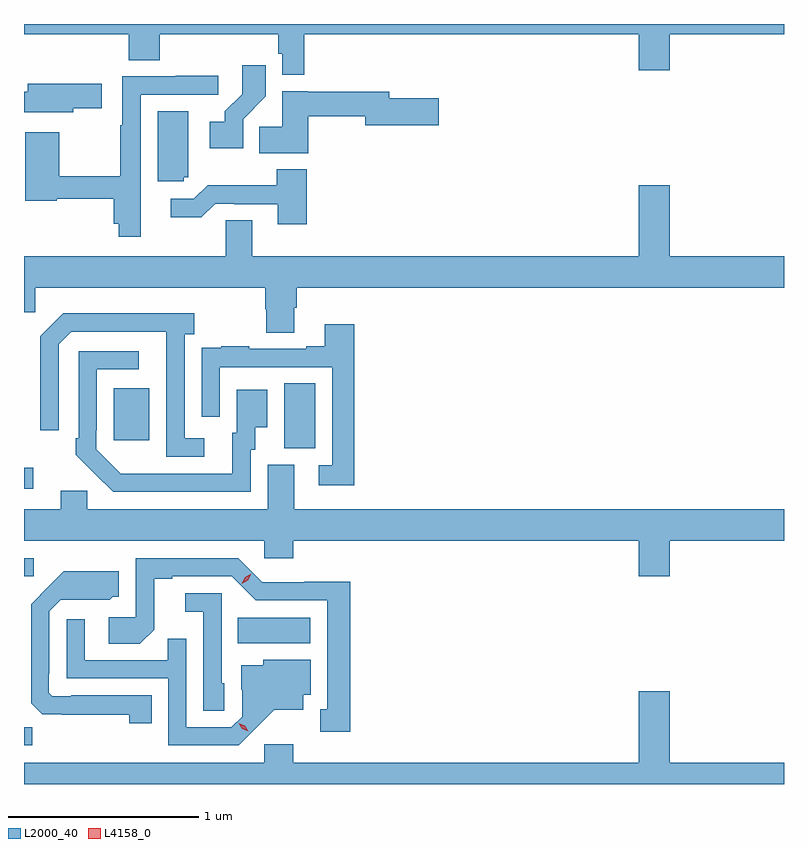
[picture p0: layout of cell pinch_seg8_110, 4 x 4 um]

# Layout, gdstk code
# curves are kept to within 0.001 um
import gdstk
lib = gdstk.Library(unit=1e-6, precision=1e-09)
def R(c, l, rs):  # rectangles x0, y0, x1, y1
    for r in rs: c.add(gdstk.rectangle(r[:2], r[2:], *l))
def P(c, l, *ps):  # polygons
    for p in ps: c.add(gdstk.Polygon(p, *l))
L2000_40 = (2000, 40)
L4158_0 = (4158, 0)

pinch_seg8_110 = lib.new_cell('pinch_seg8_110')
R(pinch_seg8_110, L2000_40, [(1024.909,1087.452,1024.953,1087.547), (1026.034,1087.988,1026.415,1088.122), (1024.909,1088.34,1024.96,1088.436), (1024.909,1088.802,1024.957,1088.911), (1026.278,1089.013,1026.442,1089.356), (1025.381,1089.057,1025.569,1089.331)])
P(pinch_seg8_110, L2000_40, [(1026.383,1091.192),(1028.144,1091.192),(1028.144,1091.004),(1028.308,1091.004),(1028.308,1091.192),(1028.909,1091.192),(1028.909,1091.247),(1024.909,1091.247),(1024.909,1091.192),(1025.459,1091.192),(1025.459,1091.056),(1025.624,1091.056),(1025.624,1091.192),(1026.247,1091.192),(1026.247,1091.091),(1026.267,1091.091),(1026.267,1090.979),(1026.383,1090.979)],
  [(1026.063,1090.747),(1026.182,1090.866),(1026.182,1091.029),(1026.057,1091.029),(1026.057,1090.877),(1025.966,1090.787),(1025.966,1090.732),(1025.886,1090.732),(1025.886,1090.592),(1026.063,1090.592)],
  [(1025.523,1090.875),(1025.932,1090.875),(1025.932,1090.974),(1025.707,1090.974),(1025.707,1090.971),(1025.427,1090.971),(1025.427,1090.715),(1025.415,1090.715),(1025.415,1090.447),(1025.094,1090.447),(1025.094,1090.678),(1024.916,1090.678),(1024.916,1090.318),(1025.082,1090.318),(1025.082,1090.326),(1025.382,1090.326),(1025.382,1090.196),(1025.407,1090.196),(1025.407,1090.128),(1025.523,1090.128)],
  [(1025.167,1090.804),(1025.317,1090.804),(1025.317,1090.933),(1024.928,1090.933),(1024.928,1090.891),(1024.909,1090.891),(1024.909,1090.782),(1025.167,1090.782)],
  [(1026.406,1090.762),(1026.704,1090.762),(1026.704,1090.715),(1027.093,1090.715),(1027.093,1090.857),(1026.832,1090.857),(1026.832,1090.891),(1026.402,1090.891),(1026.402,1090.894),(1026.269,1090.894),(1026.269,1090.706),(1026.148,1090.706),(1026.148,1090.568),(1026.406,1090.568)],
  [(1025.751,1090.44),(1025.773,1090.44),(1025.773,1090.789),(1025.612,1090.789),(1025.612,1090.419),(1025.751,1090.419)],
  [(1026.398,1090.483),(1026.238,1090.483),(1026.238,1090.399),(1025.875,1090.399),(1025.802,1090.326),(1025.682,1090.326),(1025.682,1090.229),(1025.843,1090.229),(1025.916,1090.302),(1026.016,1090.302),(1026.016,1090.299),(1026.245,1090.299),(1026.245,1090.194),(1026.398,1090.194)],
  [(1026.331,1089.754),(1026.344,1089.754),(1026.344,1089.86),(1028.909,1089.86),(1028.909,1090.024),(1028.308,1090.024),(1028.308,1090.399),(1028.144,1090.399),(1028.144,1090.024),(1026.109,1090.024),(1026.109,1090.214),(1025.97,1090.214),(1025.97,1090.024),(1024.909,1090.024),(1024.909,1089.729),(1024.968,1089.729),(1024.968,1089.86),(1026.179,1089.86),(1026.179,1089.747),(1026.184,1089.747),(1026.184,1089.622),(1026.331,1089.622)],
  [(1025.857,1089.066),(1025.754,1089.066),(1025.754,1089.614),(1025.805,1089.614),(1025.805,1089.724),(1025.116,1089.724),(1024.995,1089.603),(1024.995,1089.108),(1025.091,1089.108),(1025.091,1089.561),(1025.157,1089.627),(1025.657,1089.627),(1025.658,1088.97),(1025.857,1088.97)],
  [(1026.647,1089.667),(1026.491,1089.667),(1026.491,1089.55),(1026.395,1089.55),(1026.395,1089.537),(1026.095,1089.537),(1026.095,1089.55),(1025.947,1089.55),(1025.947,1089.543),(1025.845,1089.543),(1025.845,1089.434),(1025.844,1089.434),(1025.844,1089.18),(1025.94,1089.18),(1025.94,1089.441),(1026.531,1089.441),(1026.531,1088.925),(1026.459,1088.925),(1026.459,1088.82),(1026.647,1088.82)],
  [(1026.102,1089.006),(1026.127,1089.006),(1026.127,1089.125),(1026.19,1089.125),(1026.19,1089.322),(1026.029,1089.322),(1026.029,1089.096),(1026.005,1089.096),(1026.005,1088.88),(1025.418,1088.881),(1025.289,1089.009),(1025.289,1089.109),(1025.292,1089.109),(1025.292,1089.429),(1025.512,1089.429),(1025.512,1089.525),(1025.196,1089.525),(1025.196,1089.067),(1025.181,1089.067),(1025.181,1088.979),(1025.378,1088.784),(1026.102,1088.784)],
  [(1028.308,1088.528),(1028.909,1088.528),(1028.909,1088.692),(1026.331,1088.692),(1026.331,1088.928),(1026.191,1088.928),(1026.191,1088.692),(1025.241,1088.692),(1025.241,1088.79),(1025.102,1088.79),(1025.102,1088.692),(1024.909,1088.692),(1024.909,1088.528),(1026.174,1088.528),(1026.174,1088.435),(1026.326,1088.435),(1026.326,1088.528),(1028.144,1088.528),(1028.144,1088.34),(1028.308,1088.34)],
  [(1026.625,1088.312),(1026.384,1088.312),(1026.384,1088.31),(1026.162,1088.31),(1026.036,1088.436),(1025.496,1088.436),(1025.496,1088.124),(1025.355,1088.124),(1025.355,1087.984),(1025.519,1087.984),(1025.595,1088.06),(1025.595,1088.328),(1025.689,1088.328),(1025.689,1088.34),(1026.003,1088.34),(1026.129,1088.214),(1026.506,1088.214),(1026.506,1087.641),(1026.467,1087.641),(1026.467,1087.521),(1026.625,1087.521)],
  [(1025.582,1087.713),(1025.158,1087.713),(1025.158,1087.71),(1025.058,1087.71),(1025.04,1087.728),(1025.04,1087.828),(1025.043,1087.828),(1025.043,1088.157),(1025.103,1088.217),(1025.36,1088.216),(1025.376,1088.232),(1025.407,1088.232),(1025.407,1088.368),(1025.119,1088.368),(1024.947,1088.194),(1024.947,1087.672),(1025.006,1087.613),(1025.464,1087.612),(1025.464,1087.566),(1025.582,1087.566)],
  [(1025.964,1087.776),(1025.949,1087.776),(1025.949,1088.25),(1025.757,1088.25),(1025.757,1088.153),(1025.853,1088.153),(1025.853,1087.633),(1025.964,1087.633)],
  [(1026.124,1087.535),(1026.227,1087.637),(1026.379,1087.637),(1026.379,1087.716),(1026.418,1087.716),(1026.418,1087.9),(1026.168,1087.9),(1026.168,1087.873),(1026.053,1087.873),(1026.053,1087.744),(1026.057,1087.744),(1026.057,1087.602),(1026,1087.545),(1025.763,1087.545),(1025.763,1088.012),(1025.665,1088.012),(1025.665,1087.899),(1025.229,1087.899),(1025.229,1088.113),(1025.133,1088.113),(1025.133,1087.803),(1025.667,1087.803),(1025.667,1087.452),(1026.04,1087.452)],
  [(1028.909,1087.36),(1028.308,1087.36),(1028.308,1087.735),(1028.144,1087.735),(1028.144,1087.36),(1026.326,1087.36),(1026.326,1087.456),(1026.174,1087.456),(1026.174,1087.36),(1024.909,1087.36),(1024.909,1087.247),(1028.909,1087.247)])
P(pinch_seg8_110, L4158_0, [(1026.055,1088.301),(1026.055,1088.301),(1026.073,1088.334),(1026.104,1088.353),(1026.104,1088.353),(1026.104,1088.353),(1026.087,1088.32),(1026.056,1088.301)],
  [(1026.088,1087.524),(1026.058,1087.539),(1026.04,1087.568),(1026.04,1087.568),(1026.04,1087.568),(1026.071,1087.554),(1026.089,1087.524),(1026.089,1087.524)])

lib.write_gds('pinch_seg8_110.gds')
